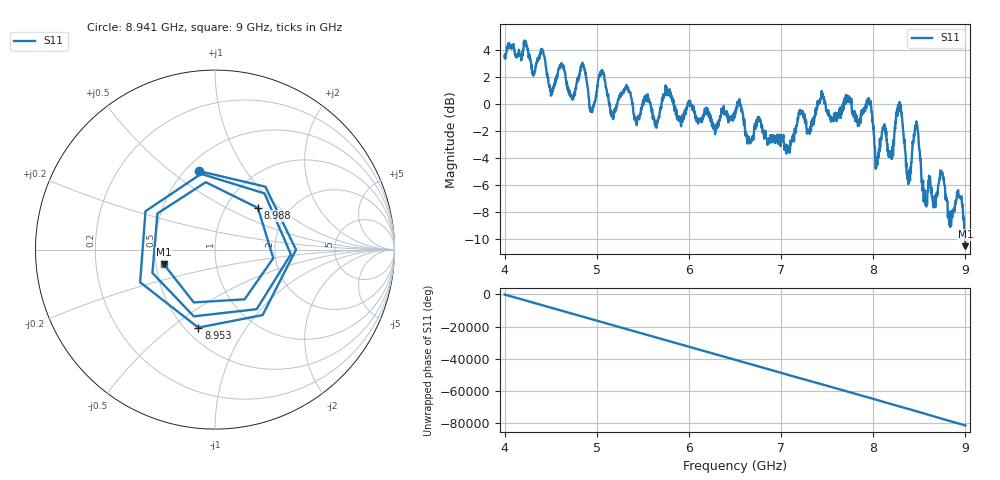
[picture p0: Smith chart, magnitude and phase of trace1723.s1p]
! Created with skrf 1.8.0 (http://scikit-rf.org).
# Hz S RI R 50.0
!freq ReS11 ImS11
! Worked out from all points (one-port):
!   1601 points, 4 GHz to 9 GHz, reference 50 ohm
!   lowest |S11| = -10.5 dB at 9 GHz (marker M1), VSWR 1.85, Z = 27.4 - j4.83 ohm
!   |S11| at or under -10 dB: 8.997144 GHz to end of sweep
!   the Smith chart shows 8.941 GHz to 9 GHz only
!   S11 on the Smith chart (normalised r, x): 8.941 GHz: 0.58, +0.63; 8.953 GHz: 0.58, -0.63; 8.988 GHz: 1.41, +0.73; 9 GHz: 0.55, -0.10
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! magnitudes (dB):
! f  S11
! 4 GHz  3.4
! 4.409 GHz  4.0
! 4.509 GHz  0.8
! 4.625 GHz  2.8
! 4.734 GHz  0.3
! 4.853 GHz  2.9
! 4.944 GHz  -0.4
! 5.053 GHz  2.4
! 5.162 GHz  -0.8
! 5.25 GHz  0.6
! 5.875 GHz  -0.9
! 6.5 GHz  -0.9
! 7.125 GHz  -2.4
! 7.441 GHz  1.0
! 7.75 GHz  0.4
! 7.953 GHz  0.3
! 8.044 GHz  -4.4
! 8.116 GHz  -1.8
! 8.191 GHz  -3.7
! 8.288 GHz  -0.3
! 8.375 GHz  -5.1
! 8.466 GHz  -1.5
! 8.559 GHz  -6.6
! 8.834 GHz  -9.1
! 8.941 GHz  -7.0
! 8.953 GHz  -7.0
! 8.988 GHz  -9.5
! 9 GHz  -10.5
